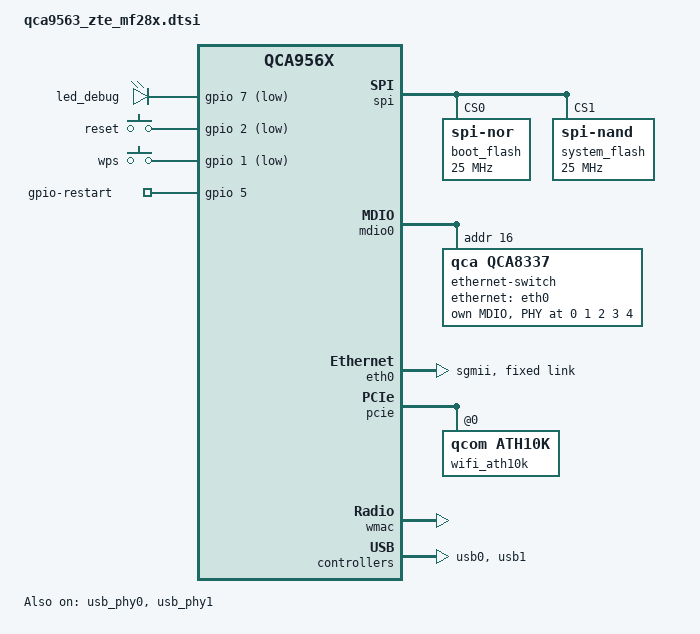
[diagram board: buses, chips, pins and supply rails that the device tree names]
// SPDX-License-Identifier: GPL-2.0-or-later OR MIT
// Copyright (c) 2021 Cezary Jackiewicz
// Copyright (c) 2021, 2022 Lech Perczak
#include "qca956x.dtsi"
#include "qca956x_ag71xx.dtsi"

#include <dt-bindings/gpio/gpio.h>
#include <dt-bindings/input/input.h>
#include <dt-bindings/leds/common.h>

/ {
	aliases {
		led-boot = &led_debug;
		led-failsafe = &led_debug;
		led-running = &led_debug;
		led-upgrade = &led_debug;
	};

	leds {
		compatible = "gpio-leds";

		/* Hidden SMD LED below signal strength LEDs.
		 * Visible through slits underside of the case,
		 * and slightly through the case below signal state LEDs
		 */
		led_debug: led-0 {
			function = LED_FUNCTION_DEBUG;
			gpios = <&gpio 7 GPIO_ACTIVE_LOW>;
			default-state = "on";
		};
	};

	keys {
		compatible = "gpio-keys";

		reset {
			label = "reset";
			linux,code = <KEY_RESTART>;
			gpios = <&gpio 2 GPIO_ACTIVE_LOW>;
			debounce-interval = <60>;
		};

		wps {
			label = "wps";
			linux,code = <KEY_WPS_BUTTON>;
			gpios = <&gpio 1 GPIO_ACTIVE_LOW>;
			debounce-interval = <60>;
		};
	};

	/* This GPIO is used to reset whole board _including_ the modem */
	gpio-restart {
		compatible = "gpio-restart";
		gpios = <&gpio 5 GPIO_ACTIVE_HIGH>;
		active-delay = <3000>;
		inactive-delay = <1000>;
	};
};

&spi {
	status = "okay";

	boot_flash: flash@0 {
		compatible = "jedec,spi-nor";
		reg = <0>;
		spi-max-frequency = <25000000>;

		partitions {
			compatible = "fixed-partitions";
			#address-cells = <1>;
			#size-cells = <1>;
		};
	};

	system_flash: flash@1 {
		compatible = "spi-nand";
		reg = <1>;
		spi-max-frequency = <25000000>;

		partitions {
			compatible = "fixed-partitions";
			#address-cells = <1>;
			#size-cells = <1>;
		};
	};
};

&mdio0 {
	status = "okay";

	ethernet-switch@10 {
		compatible = "qca,qca8337";
		#address-cells = <1>;
		#size-cells = <0>;
		reg = <0x10>;

		ethernet-ports {
			#address-cells = <1>;
			#size-cells = <0>;

			ethernet-port@0 {
				reg = <0>;
				ethernet = <&eth0>;
				phy-mode = "sgmii";
				qca,sgmii-rxclk-falling-edge;

				fixed-link {
					speed = <1000>;
					full-duplex;
				};
			};

			switch_port1: ethernet-port@1 {
				reg = <1>;
				phy-mode = "internal";
				phy-handle = <&phy_port1>;

				status = "disabled";
			};

			switch_port2: ethernet-port@2 {
				reg = <2>;
				phy-mode = "internal";
				phy-handle = <&phy_port2>;

				status = "disabled";
			};

			switch_port3: ethernet-port@3 {
				reg = <3>;
				phy-mode = "internal";
				phy-handle = <&phy_port3>;

				status = "disabled";
			};

			switch_port4: ethernet-port@4 {
				reg = <4>;
				phy-mode = "internal";
				phy-handle = <&phy_port4>;

				status = "disabled";
			};

			switch_port5: ethernet-port@5 {
				reg = <5>;
				phy-mode = "internal";
				phy-handle = <&phy_port5>;

				status = "disabled";
			};
		};

		mdio {
			#address-cells = <1>;
			#size-cells = <0>;

			phy_port1: ethernet-phy@0 {
				reg = <0>;
			};

			phy_port2: ethernet-phy@1 {
				reg = <1>;
			};

			phy_port3: ethernet-phy@2 {
				reg = <2>;
			};

			phy_port4: ethernet-phy@3 {
				reg = <3>;
			};

			phy_port5: ethernet-phy@4 {
				reg = <4>;
			};
		};
	};
};

&eth0 {
	status = "okay";

	phy-mode = "sgmii";

	fixed-link {
		speed = <1000>;
		full-duplex;
	};
};

&pcie {
	status = "okay";

	wifi_ath10k: wifi@0,0 {
		compatible = "qcom,ath10k";
		reg = <0x0 0 0 0 0>;
	};
};

&wmac {
	status = "okay";
};

&usb_phy0 {
	status = "okay";
};

&usb0 {
	status = "okay";
};

&usb_phy1 {
	status = "okay";
};

&usb1 {
	status = "okay";
};
